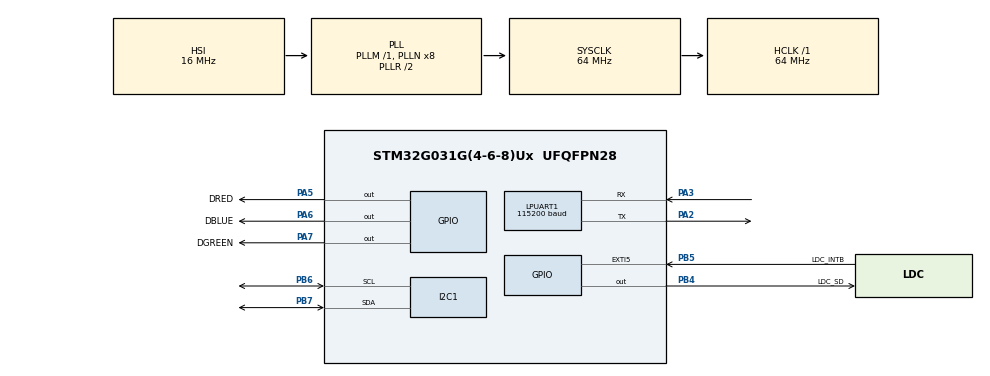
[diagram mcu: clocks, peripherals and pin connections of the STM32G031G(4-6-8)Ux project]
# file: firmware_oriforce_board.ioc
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I2C1.Timing=0x10707DBC
LPUART1.BaudRate=115200
LPUART1.WordLength=UART_WORDLENGTH_8B
Mcu.Family=STM32G0
Mcu.Name=STM32G031G(4-6-8)Ux
Mcu.Package=UFQFPN28
NVIC.EXTI4_15_IRQn=true\:0\:0\:false\:false\:true\:true\:true\:true
NVIC.LPUART1_IRQn=true\:0\:0\:false\:false\:true\:true\:true\:true
NVIC.TIM2_IRQn=true\:0\:0\:false\:false\:true\:true\:true\:true
PA13.Mode=Serial_Wire
PA13.Signal=SYS_SWDIO
PA14-BOOT0.Mode=Serial_Wire
PA14-BOOT0.Signal=SYS_SWCLK
PA2.Mode=Asynchronous
PA2.Signal=LPUART1_TX
PA3.Mode=Asynchronous
PA3.Signal=LPUART1_RX
PA5.GPIO_Label=DRED
PA5.Signal=GPIO_Output
PA6.GPIO_Label=DBLUE
PA6.Signal=GPIO_Output
PA7.GPIO_Label=DGREEN
PA7.Signal=GPIO_Output
PB4.GPIO_Label=LDC_SD
PB4.Signal=GPIO_Output
PB5.GPIO_Label=LDC_INTB
PB5.Signal=GPXTI5
PB6.Mode=I2C
PB6.Signal=I2C1_SCL
PB7.Mode=I2C
PB7.Signal=I2C1_SDA
ProjectManager.HeapSize=0x200
ProjectManager.StackSize=0x400
ProjectManager.TargetToolchain=STM32CubeIDE
RCC.ADCFreq_Value=64000000
RCC.AHBFreq_Value=64000000
RCC.CortexFreq_Value=64000000
RCC.EXTERNAL_CLOCK_VALUE=12288000
RCC.HCLKFreq_Value=64000000
RCC.HSE_VALUE=8000000
RCC.HSI_VALUE=16000000
RCC.LSE_VALUE=32768
RCC.SYSCLKFreq_VALUE=64000000
RCC.SYSCLKSource=RCC_SYSCLKSOURCE_PLLCLK
RCC.VCOOutputFreq_Value=128000000
TIM2.Period=99
TIM2.Prescaler=6399
VP_TIM2_VS_ClockSourceINT.Mode=Internal
board=custom

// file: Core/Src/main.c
/* USER CODE BEGIN Header */
/**
  ******************************************************************************
  * @file           : main.c
  * @brief          : Main program body
  ******************************************************************************
  * @attention
  *
  * Copyright (c) 2024 STMicroelectronics.
  * All rights reserved.
  *
  * This software is licensed under terms that can be found in the LICENSE file
  * in the root directory of this software component.
  * If no LICENSE file comes with this software, it is provided AS-IS.
  *
  ******************************************************************************
  */
/* USER CODE END Header */
#include "main.h"

/* USER CODE BEGIN Includes */
#include "led.h"
#include "ldc1614.h"
#include "crc8.h"
#include "stdio.h"
/* USER CODE END Includes */

I2C_HandleTypeDef hi2c1;

UART_HandleTypeDef hlpuart1;

TIM_HandleTypeDef htim2;

/* USER CODE BEGIN PV */
uint8_t read_flag = 0;

float frq_ch0, frq_ch1, frq_ch2;
float inductance_ch0, inductance_ch1, inductance_ch2;
//char frq_ch0_str[20], frq_ch1_str[20], frq_ch2_str[20];

char idInfo[3] = "S0";
char dataframe[30];
uint8_t crc8code;
uint8_t cmd[3];
uint8_t send_flag = 0;
/* USER CODE END PV */

void SystemClock_Config(void);
static void MX_GPIO_Init(void);
static void MX_I2C1_Init(void);
static void MX_LPUART1_UART_Init(void);
static void MX_TIM2_Init(void);

int main(void)
{

  /* MCU Configuration--------------------------------------------------------*/

  /* Reset of all peripherals, Initializes the Flash interface and the Systick. */
  HAL_Init();

  /* Configure the system clock */
  SystemClock_Config();

  /* Initialize all configured peripherals */
  MX_GPIO_Init();
  MX_I2C1_Init();
  MX_LPUART1_UART_Init();
  MX_TIM2_Init();
  /* USER CODE BEGIN 2 */
  led_status(BLUE);
  HAL_TIM_Base_Start_IT(&htim2);
  ldc1614_init();
  HAL_UART_Receive_IT(&hlpuart1, cmd, 2);
  /* USER CODE END 2 */

  /* Infinite loop */
  while (1)
  {
    led_status(GREEN);
    if(read_flag == 1){  // update data
      HAL_TIM_Base_Stop_IT(&htim2);
      read_flag =0;
      ldc1614_processDRDY();
      inductance_ch0 = ldc1614_readInductance(0);
      inductance_ch1 = ldc1614_readInductance(1);
      inductance_ch2 = ldc1614_readInductance(2);
      HAL_TIM_Base_Start_IT(&htim2);
      sprintf(dataframe, "data:%.4f,%.4f,%.4f\n", inductance_ch0, inductance_ch1, inductance_ch2);
//      sprintf(dataframe, "%sA%.5fB%.5fC%.5f\r\n", idInfo, inductance_ch0, inductance_ch1, inductance_ch2);
      HAL_UART_Transmit(&hlpuart1, (uint8_t*)dataframe, 28, 1000);
    }
/* interrupt receive data for multiple sensor communication */
//    if(send_flag == 1){
//      sprintf(dataframe, "%sA%.5fB%.5fC%.5f", idInfo, frq_ch0, frq_ch1, frq_ch2);
//      crc8code = crc8_MAXIM((uint8_t*)dataframe, 26);
//      sprintf(dataframe, "%s%c\n", dataframe, crc8code);
//      HAL_UART_Transmit(&hlpuart1, (uint8_t*)dataframe, 28, 1000);
//      send_flag = 0;
//      HAL_UART_Receive_IT(&hlpuart1, cmd, 2);
//    }
  }
}

void SystemClock_Config(void)
{
  RCC_OscInitTypeDef RCC_OscInitStruct = {0};
  RCC_ClkInitTypeDef RCC_ClkInitStruct = {0};

  /** Configure the main internal regulator output voltage
  */
  HAL_PWREx_ControlVoltageScaling(PWR_REGULATOR_VOLTAGE_SCALE1);

  /** Initializes the RCC Oscillators according to the specified parameters
  * in the RCC_OscInitTypeDef structure.
  */
  RCC_OscInitStruct.OscillatorType = RCC_OSCILLATORTYPE_HSI;
  RCC_OscInitStruct.HSIState = RCC_HSI_ON;
  RCC_OscInitStruct.HSIDiv = RCC_HSI_DIV1;
  RCC_OscInitStruct.HSICalibrationValue = RCC_HSICALIBRATION_DEFAULT;
  RCC_OscInitStruct.PLL.PLLState = RCC_PLL_ON;
  RCC_OscInitStruct.PLL.PLLSource = RCC_PLLSOURCE_HSI;
  RCC_OscInitStruct.PLL.PLLM = RCC_PLLM_DIV1;
  RCC_OscInitStruct.PLL.PLLN = 8;
  RCC_OscInitStruct.PLL.PLLP = RCC_PLLP_DIV2;
  RCC_OscInitStruct.PLL.PLLQ = RCC_PLLQ_DIV2;
  RCC_OscInitStruct.PLL.PLLR = RCC_PLLR_DIV2;
  if (HAL_RCC_OscConfig(&RCC_OscInitStruct) != HAL_OK)
  {
    Error_Handler();
  }

  /** Initializes the CPU, AHB and APB buses clocks
  */
  RCC_ClkInitStruct.ClockType = RCC_CLOCKTYPE_HCLK|RCC_CLOCKTYPE_SYSCLK
                              |RCC_CLOCKTYPE_PCLK1;
  RCC_ClkInitStruct.SYSCLKSource = RCC_SYSCLKSOURCE_PLLCLK;
  RCC_ClkInitStruct.AHBCLKDivider = RCC_SYSCLK_DIV1;
  RCC_ClkInitStruct.APB1CLKDivider = RCC_HCLK_DIV1;

  if (HAL_RCC_ClockConfig(&RCC_ClkInitStruct, FLASH_LATENCY_2) != HAL_OK)
  {
    Error_Handler();
  }
}

static void MX_I2C1_Init(void)
{

  hi2c1.Instance = I2C1;
  hi2c1.Init.Timing = 0x10707DBC;
  hi2c1.Init.OwnAddress1 = 0;
  hi2c1.Init.AddressingMode = I2C_ADDRESSINGMODE_7BIT;
  hi2c1.Init.DualAddressMode = I2C_DUALADDRESS_DISABLE;
  hi2c1.Init.OwnAddress2 = 0;
  hi2c1.Init.OwnAddress2Masks = I2C_OA2_NOMASK;
  hi2c1.Init.GeneralCallMode = I2C_GENERALCALL_DISABLE;
  hi2c1.Init.NoStretchMode = I2C_NOSTRETCH_DISABLE;
  if (HAL_I2C_Init(&hi2c1) != HAL_OK)
  {
    Error_Handler();
  }

  /** Configure Analogue filter
  */
  if (HAL_I2CEx_ConfigAnalogFilter(&hi2c1, I2C_ANALOGFILTER_ENABLE) != HAL_OK)
  {
    Error_Handler();
  }

  /** Configure Digital filter
  */
  if (HAL_I2CEx_ConfigDigitalFilter(&hi2c1, 0) != HAL_OK)
  {
    Error_Handler();
  }

}

static void MX_LPUART1_UART_Init(void)
{

  hlpuart1.Instance = LPUART1;
  hlpuart1.Init.BaudRate = 115200;
  hlpuart1.Init.WordLength = UART_WORDLENGTH_8B;
  hlpuart1.Init.StopBits = UART_STOPBITS_1;
  hlpuart1.Init.Parity = UART_PARITY_NONE;
  hlpuart1.Init.Mode = UART_MODE_TX_RX;
  hlpuart1.Init.HwFlowCtl = UART_HWCONTROL_NONE;
  hlpuart1.Init.OneBitSampling = UART_ONE_BIT_SAMPLE_DISABLE;
  hlpuart1.Init.ClockPrescaler = UART_PRESCALER_DIV1;
  hlpuart1.AdvancedInit.AdvFeatureInit = UART_ADVFEATURE_NO_INIT;
  hlpuart1.FifoMode = UART_FIFOMODE_DISABLE;
  if (HAL_UART_Init(&hlpuart1) != HAL_OK)
  {
    Error_Handler();
  }
  if (HAL_UARTEx_SetTxFifoThreshold(&hlpuart1, UART_TXFIFO_THRESHOLD_1_8) != HAL_OK)
  {
    Error_Handler();
  }
  if (HAL_UARTEx_SetRxFifoThreshold(&hlpuart1, UART_RXFIFO_THRESHOLD_1_8) != HAL_OK)
  {
    Error_Handler();
  }
  if (HAL_UARTEx_DisableFifoMode(&hlpuart1) != HAL_OK)
  {
    Error_Handler();
  }

}

static void MX_TIM2_Init(void)
{

  TIM_ClockConfigTypeDef sClockSourceConfig = {0};
  TIM_MasterConfigTypeDef sMasterConfig = {0};

  htim2.Instance = TIM2;
  htim2.Init.Prescaler = 6399;
  htim2.Init.CounterMode = TIM_COUNTERMODE_UP;
  htim2.Init.Period = 99;
  htim2.Init.ClockDivision = TIM_CLOCKDIVISION_DIV1;
  htim2.Init.AutoReloadPreload = TIM_AUTORELOAD_PRELOAD_DISABLE;
  if (HAL_TIM_Base_Init(&htim2) != HAL_OK)
  {
    Error_Handler();
  }
  sClockSourceConfig.ClockSource = TIM_CLOCKSOURCE_INTERNAL;
  if (HAL_TIM_ConfigClockSource(&htim2, &sClockSourceConfig) != HAL_OK)
  {
    Error_Handler();
  }
  sMasterConfig.MasterOutputTrigger = TIM_TRGO_RESET;
  sMasterConfig.MasterSlaveMode = TIM_MASTERSLAVEMODE_DISABLE;
  if (HAL_TIMEx_MasterConfigSynchronization(&htim2, &sMasterConfig) != HAL_OK)
  {
    Error_Handler();
  }

}

static void MX_GPIO_Init(void)
{
  GPIO_InitTypeDef GPIO_InitStruct = {0};

  /* GPIO Ports Clock Enable */
  __HAL_RCC_GPIOA_CLK_ENABLE();
  __HAL_RCC_GPIOB_CLK_ENABLE();

  /*Configure GPIO pin Output Level */
  HAL_GPIO_WritePin(GPIOA, DRED_Pin|DBLUE_Pin|DGREEN_Pin, GPIO_PIN_RESET);

  /*Configure GPIO pin Output Level */
  HAL_GPIO_WritePin(LDC_SD_GPIO_Port, LDC_SD_Pin, GPIO_PIN_RESET);

  /*Configure GPIO pins : DRED_Pin DBLUE_Pin DGREEN_Pin */
  GPIO_InitStruct.Pin = DRED_Pin|DBLUE_Pin|DGREEN_Pin;
  GPIO_InitStruct.Mode = GPIO_MODE_OUTPUT_PP;
  GPIO_InitStruct.Pull = GPIO_NOPULL;
  GPIO_InitStruct.Speed = GPIO_SPEED_FREQ_LOW;
  HAL_GPIO_Init(GPIOA, &GPIO_InitStruct);

  /*Configure GPIO pin : LDC_SD_Pin */
  GPIO_InitStruct.Pin = LDC_SD_Pin;
  GPIO_InitStruct.Mode = GPIO_MODE_OUTPUT_PP;
  GPIO_InitStruct.Pull = GPIO_NOPULL;
  GPIO_InitStruct.Speed = GPIO_SPEED_FREQ_LOW;
  HAL_GPIO_Init(LDC_SD_GPIO_Port, &GPIO_InitStruct);

  /*Configure GPIO pin : LDC_INTB_Pin */
  GPIO_InitStruct.Pin = LDC_INTB_Pin;
  GPIO_InitStruct.Mode = GPIO_MODE_IT_RISING;
  GPIO_InitStruct.Pull = GPIO_NOPULL;
  HAL_GPIO_Init(LDC_INTB_GPIO_Port, &GPIO_InitStruct);

  /* EXTI interrupt init*/
  HAL_NVIC_SetPriority(EXTI4_15_IRQn, 0, 0);
  HAL_NVIC_EnableIRQ(EXTI4_15_IRQn);

}

/* USER CODE BEGIN 4 */
void HAL_TIM_PeriodElapsedCallback(TIM_HandleTypeDef *htim){
  if(htim == (&htim2)) read_flag = 1;
}

void HAL_UART_RxCpltCallback(UART_HandleTypeDef *huart){
  if(huart == &hlpuart1){
    if(cmd[0] == 's' && cmd[1] == '0'){
      led_status(GREEN);
      send_flag = 1;
    }
    else{
      HAL_UART_Receive_IT(&hlpuart1, cmd, 2);
    }
  }
}
/* USER CODE END 4 */

void Error_Handler(void)
{
  __disable_irq();
  while (1)
  {
  }
}
